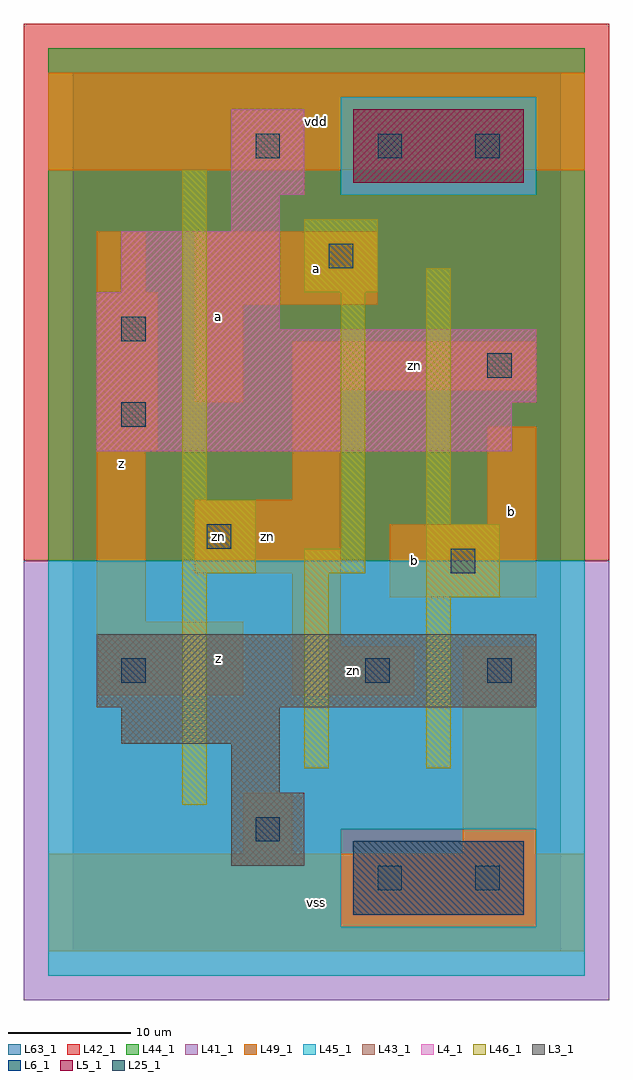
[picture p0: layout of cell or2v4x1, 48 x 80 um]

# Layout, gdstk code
import gdstk
lib = gdstk.Library(unit=1e-6, precision=1e-09)
def R(c, l, rs):  # rectangles x0, y0, x1, y1
    for r in rs: c.add(gdstk.rectangle(r[:2], r[2:], *l))
L3_1 = (3, 1)
L4_1 = (4, 1)
L5_1 = (5, 1)
L6_1 = (6, 1)
L25_1 = (25, 1)
L41_1 = (41, 1)
L42_1 = (42, 1)
L43_1 = (43, 1)
L44_1 = (44, 1)
L45_1 = (45, 1)
L46_1 = (46, 1)
L49_1 = (49, 1)
L63_1 = (63, 1)

or2v4x1 = lib.new_cell('or2v4x1')
R(or2v4x1, L3_1, [(13,7,19,13), (13,13,17,17), (4,17,17,20), (2,20,38,26)])
R(or2v4x1, L4_1, [(2,41,36,45), (2,45,38,51), (2,51,17,54), (4,54,17,59), (13,59,17,62), (13,62,19,69)])
R(or2v4x1, L5_1, [(23,63,37,69)])
R(or2v4x1, L6_1, [(23,3,37,9), (23,3,37,9)])
R(or2v4x1, L25_1, [(25,5,27,7), (33,5,35,7), (15,9,17,11), (4,22,6,24), (24,22,26,24), (34,22,36,24), (31,31,33,33), (11,33,13,35), (4,43,6,45), (34,47,36,49), (4,50,6,52), (21,56,23,58), (15,65,17,67), (25,65,27,67), (33,65,35,67)])
R(or2v4x1, L41_1, [(-4,-4,44,32)])
R(or2v4x1, L42_1, [(-4,32,44,76)])
R(or2v4x1, L43_1, [(23,3,37,9), (13,7,19,13), (13,13,17,17), (4,17,17,20), (2,20,38,26), (2,41,36,45), (2,45,38,51), (2,51,17,54), (4,54,17,59), (13,59,17,62), (13,62,19,69), (23,63,37,69)])
R(or2v4x1, L44_1, [(22,2,38,10), (-2,32,42,62), (-2,62,22,70), (38,62,42,70), (-2,70,42,74)])
R(or2v4x1, L45_1, [(-2,-2,42,2), (-2,2,22,10), (38,2,42,10), (-2,10,42,32), (22,62,38,70)])
R(or2v4x1, L46_1, [(9,12,11,31), (19,15,21,31), (29,15,31,29), (29,29,35,35), (9,31,15,37), (19,31,24,33), (22,33,24,54), (29,35,31,56), (9,37,11,64), (19,54,25,60)])
R(or2v4x1, L49_1, [(-2,0,42,8), (14,8,18,13), (32,8,38,25), (2,21,14,27), (18,21,28,25), (18,25,22,31), (2,27,6,41), (26,29,38,35), (10,31,22,37), (34,35,38,43), (18,37,22,46), (2,41,7,54), (10,45,14,53), (18,46,38,50), (10,53,25,59), (2,54,6,59), (-2,64,42,72)])
R(or2v4x1, L63_1, [(0,0,40,72)])
or2v4x1.add(gdstk.Label('zn', (12,34), layer=49, texttype=1))
or2v4x1.add(gdstk.Label('z', (4,40), layer=49, texttype=1))
or2v4x1.add(gdstk.Label('z', (12,24), layer=49, texttype=1))
or2v4x1.add(gdstk.Label('a', (12,52), layer=49, texttype=1))
or2v4x1.add(gdstk.Label('vss', (20,4), layer=49, texttype=1))
or2v4x1.add(gdstk.Label('zn', (23,23), layer=49, texttype=1))
or2v4x1.add(gdstk.Label('b', (28,32), layer=49, texttype=1))
or2v4x1.add(gdstk.Label('zn', (16,34), layer=49, texttype=1))
or2v4x1.add(gdstk.Label('a', (20,56), layer=49, texttype=1))
or2v4x1.add(gdstk.Label('vdd', (20,68), layer=49, texttype=1))
or2v4x1.add(gdstk.Label('b', (36,36), layer=49, texttype=1))
or2v4x1.add(gdstk.Label('zn', (28,48), layer=49, texttype=1))

lib.write_gds('or2v4x1.gds')
